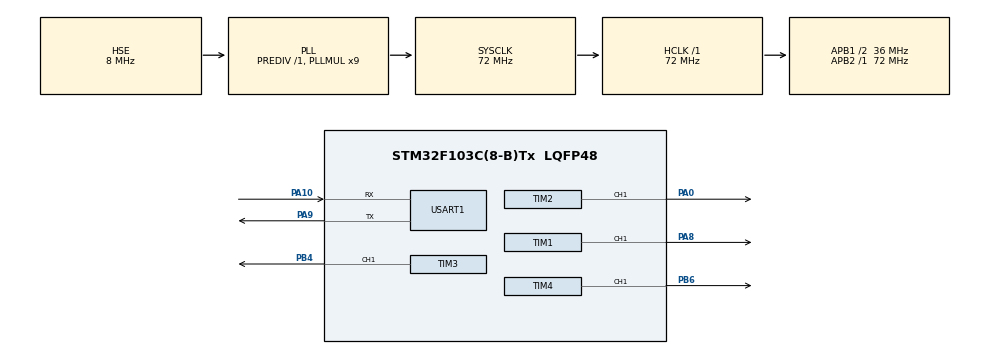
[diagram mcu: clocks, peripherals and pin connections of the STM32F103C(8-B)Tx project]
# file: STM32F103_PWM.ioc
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Mcu.Family=STM32F1
Mcu.Name=STM32F103C(8-B)Tx
Mcu.Package=LQFP48
NVIC.PriorityGroup=NVIC_PRIORITYGROUP_4
NVIC.USART1_IRQn=true\:0\:0\:false\:false\:true\:true\:true\:true
PA0-WKUP.Signal=S_TIM2_CH1_ETR
PA10.Mode=Asynchronous
PA10.Signal=USART1_RX
PA13.Mode=Serial_Wire
PA13.Signal=SYS_JTMS-SWDIO
PA14.Mode=Serial_Wire
PA14.Signal=SYS_JTCK-SWCLK
PA8.Signal=S_TIM1_CH1
PA9.Mode=Asynchronous
PA9.Signal=USART1_TX
PB4.Signal=S_TIM3_CH1
PB6.Signal=S_TIM4_CH1
PD0-OSC_IN.Mode=HSE-External-Oscillator
PD0-OSC_IN.Signal=RCC_OSC_IN
PD1-OSC_OUT.Mode=HSE-External-Oscillator
PD1-OSC_OUT.Signal=RCC_OSC_OUT
ProjectManager.HeapSize=0x200
ProjectManager.StackSize=0x400
ProjectManager.TargetToolchain=MDK-ARM V5.32
RCC.AHBFreq_Value=72000000
RCC.APB1CLKDivider=RCC_HCLK_DIV2
RCC.APB1Freq_Value=36000000
RCC.APB1TimFreq_Value=72000000
RCC.APB2Freq_Value=72000000
RCC.APB2TimFreq_Value=72000000
RCC.HCLKFreq_Value=72000000
RCC.PLLMUL=RCC_PLL_MUL9
RCC.PLLSourceVirtual=RCC_PLLSOURCE_HSE
RCC.SYSCLKFreq_VALUE=72000000
RCC.SYSCLKSource=RCC_SYSCLKSOURCE_PLLCLK
RCC.USBFreq_Value=72000000
SH.S_TIM1_CH1.0=TIM1_CH1,PWM Generation1 CH1
SH.S_TIM2_CH1_ETR.0=TIM2_CH1,PWM Generation1 CH1
SH.S_TIM3_CH1.0=TIM3_CH1,PWM Generation1 CH1
SH.S_TIM4_CH1.0=TIM4_CH1,PWM Generation1 CH1
TIM1.Channel-PWM\ Generation1\ CH1=TIM_CHANNEL_1
TIM1.Period=1000-1
TIM1.Prescaler=72-1
TIM1.Pulse-PWM\ Generation1\ CH1=500
TIM2.Channel-PWM\ Generation1\ CH1=TIM_CHANNEL_1
TIM2.Period=500-1
TIM2.Prescaler=72-1
TIM2.Pulse-PWM\ Generation1\ CH1=200
TIM3.Channel-PWM\ Generation1\ CH1=TIM_CHANNEL_1
TIM3.Period=333-1
TIM3.Prescaler=72-1
TIM3.Pulse-PWM\ Generation1\ CH1=150
TIM4.Channel-PWM\ Generation1\ CH1=TIM_CHANNEL_1
TIM4.Period=250-1
TIM4.Prescaler=72-1
TIM4.Pulse-PWM\ Generation1\ CH1=100
USART1.VirtualMode=VM_ASYNC
board=custom

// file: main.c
/* USER CODE BEGIN Header */
/**
 ******************************************************************************
 * @file           : main.c
 * @brief          : Main program body
 ******************************************************************************
 * @attention
 *
 * Copyright (c) 2024 STMicroelectronics.
 * All rights reserved.
 *
 * This software is licensed under terms that can be found in the LICENSE file
 * in the root directory of this software component.
 * If no LICENSE file comes with this software, it is provided AS-IS.
 *
 ******************************************************************************
 */
/* USER CODE END Header */
#include "main.h"

/* USER CODE BEGIN Includes */
#include "tjc_usart_hmi.h"
#include "math.h"
#include <stdio.h>
#include <string.h>
#include <stdarg.h>
#include <stddef.h>
/* USER CODE END Includes */

/* USER CODE BEGIN PD */
#define code_num 4
#define STR_LENGTH2 100
/* USER CODE END PD */

TIM_HandleTypeDef htim1;
TIM_HandleTypeDef htim2;
TIM_HandleTypeDef htim3;
TIM_HandleTypeDef htim4;

UART_HandleTypeDef huart1;

/* USER CODE BEGIN PV */
uint8_t uart_screen_data[7];
const uint16_t led_frequency_delta[code_num] = {0, 500, 333, 250};

uint8_t led_code[code_num] = {
    0, 1, 2, 3};
/* USER CODE END PV */

void SystemClock_Config(void);
static void MX_GPIO_Init(void);
static void MX_TIM1_Init(void);
static void MX_TIM3_Init(void);
static void MX_TIM2_Init(void);
static void MX_TIM4_Init(void);
static void MX_USART1_UART_Init(void);
/* USER CODE BEGIN PFP */
void screen_receive();
void UpperComputer_Pringtf(const char *str, ...);
// void user_delaynus_tim(uint16_t nus);
/* USER CODE END PFP */

/* USER CODE BEGIN 0 */
void UpperComputer_Pringtf(const char *str, ...)
{
  uint8_t end = '\n';
  char buffer[STR_LENGTH2 + 1]; // ????
  uint8_t i = 0;
  va_list arg_ptr;
  va_start(arg_ptr, str);
  vsnprintf(buffer, STR_LENGTH2 + 1, str, arg_ptr);
  va_end(arg_ptr);
  while ((i < STR_LENGTH2) && (i < strlen(buffer)))
  {
    HAL_UART_Transmit_IT(&huart1, (uint8_t *)(buffer) + i++, 1);
    while (huart1.gState != HAL_UART_STATE_READY)
      ; // ?????????
  }

  HAL_UART_Transmit_IT(&huart1, &end, 1); // ???????????????????????
  while (huart1.gState != HAL_UART_STATE_READY)
    ;

  // HAL_UART_Transmit_IT(&huart1, &end, 1); // ???????????????????????
  // while (huart1.gState != HAL_UART_STATE_READY)
  //   ;                                     // ?????????
  // HAL_UART_Transmit_IT(&huart1, &end, 1); // ???????????????????????
  // while (huart1.gState != HAL_UART_STATE_READY)
  //   ;                                     // ?????????
  // HAL_UART_Transmit_IT(&huart1, &end, 1); // ???????????????????????
  // while (huart1.gState != HAL_UART_STATE_READY)
  ; // ?????????
}
void screen_receive()
{
  HAL_GPIO_TogglePin(GPIOB, GPIO_PIN_0);
  uint8_t led, frequency;
  for (int i = 0; i < 7; i++)
  {
    uart_screen_data[i] = read1BFromRingBuff(i);
  }

  switch (uart_screen_data[2])
  {
  case 0:
    frequency = 0;
    break;
  case 1:
    frequency = 1;
    break;
  case 2:
    frequency = 2;
    break;
  case 3:
    frequency = 3;
    break;
  default:
    TJCPrintf("Cannot Fine Frequency\n");
  }
  switch (uart_screen_data[1])
  {
  case 0x70:
    led = 0;
    // htim1.Instance->PSC = led_frequency_prescaler[frequency] - 1;
    break;
  case 0x71:
    led = 1;
    // htim2.Instance->PSC = led_frequency_prescaler[frequency] - 1;
    break;
  case 0x72:
    led = 2;
    // htim3.Instance->PSC = led_frequency_prescaler[frequency] - 1;
    break;
  case 0x73:
    led = 3;
    // htim4.Instance->PSC = led_frequency_prescaler[frequency] - 1;
    break;
  default:
    TJCPrintf("Cannot Find LED\n");
  }

  // 默认4个频�?
  frequency = led * 1000 + frequency * led_frequency_delta[3];
  led_code[led] = frequency;

  TJCPrintf("n0.val=%d", led_code[0]);
  TJCPrintf("n1.val=%d", led_code[1]);
  TJCPrintf("n2.val=%d", led_code[2]);
  TJCPrintf("n3.val=%d\n", led_code[3]);

  for (int i = 0; i < 7; i++)
    TJCPrintf("d%d = %d", i, uart_screen_data[i]);
  TJCPrintf("length = %d", getRingBuffLenght());

  TJCPrintf("ok");
  initRingBuff();
}

// // ??????????
// void user_delaynus_tim(uint16_t nus)
// {

//   // ??????????????3????????????
//   __HAL_TIM_SetCounter(&htim3, 0);
//   // ??????????????????
//   HAL_TIM_Base_Start(&htim3);

//   while (__HAL_TIM_GetCounter(&htim3) < nus)
//   {
//   };
//   // ??????????????
//   HAL_TIM_Base_Stop(&htim3);
// }

/* USER CODE END 0 */

int main(void)
{

  /* MCU Configuration--------------------------------------------------------*/

  /* Reset of all peripherals, Initializes the Flash interface and the Systick. */
  HAL_Init();

  /* Configure the system clock */
  SystemClock_Config();

  /* Initialize all configured peripherals */
  MX_GPIO_Init();
  MX_TIM1_Init();
  MX_TIM3_Init();
  MX_TIM2_Init();
  MX_TIM4_Init();
  MX_USART1_UART_Init();
  /* USER CODE BEGIN 2 */
  HAL_TIM_PWM_Start(&htim1, TIM_CHANNEL_1);
  HAL_TIM_PWM_Start(&htim2, TIM_CHANNEL_1);
  HAL_TIM_PWM_Start(&htim3, TIM_CHANNEL_1);
  HAL_TIM_PWM_Start(&htim4, TIM_CHANNEL_1);

  initRingBuff();
  HAL_UART_Receive_IT(&huart1, RxBuff, 1);

  // HAL_GPIO_WritePin(GPIOB, GPIO_PIN_0, GPIO_PIN_RESET);
  /* USER CODE END 2 */

  /* Infinite loop */
  /* USER CODE BEGIN WHILE */
  while (1)
  {

    if (getRingBuffLenght() == 7)
    {
      screen_receive();
    }

    // HAL_Delay(1000);
    // //user_delaynus_tim(500);
    // if(flag == 1)
    // {
    // 	HAL_GPIO_WritePin(GPIOB, GPIO_PIN_0, GPIO_PIN_RESET);
    // 	flag = 0;
    // }
    // else
    // {
    //   HAL_GPIO_WritePin(GPIOB, GPIO_PIN_0, GPIO_PIN_SET);
    //   flag = 1;
    // }

    /* USER CODE END WHILE */

  }
}

void SystemClock_Config(void)
{
  RCC_OscInitTypeDef RCC_OscInitStruct = {0};
  RCC_ClkInitTypeDef RCC_ClkInitStruct = {0};

  /** Initializes the RCC Oscillators according to the specified parameters
  * in the RCC_OscInitTypeDef structure.
  */
  RCC_OscInitStruct.OscillatorType = RCC_OSCILLATORTYPE_HSE;
  RCC_OscInitStruct.HSEState = RCC_HSE_ON;
  RCC_OscInitStruct.HSEPredivValue = RCC_HSE_PREDIV_DIV1;
  RCC_OscInitStruct.HSIState = RCC_HSI_ON;
  RCC_OscInitStruct.PLL.PLLState = RCC_PLL_ON;
  RCC_OscInitStruct.PLL.PLLSource = RCC_PLLSOURCE_HSE;
  RCC_OscInitStruct.PLL.PLLMUL = RCC_PLL_MUL9;
  if (HAL_RCC_OscConfig(&RCC_OscInitStruct) != HAL_OK)
  {
    Error_Handler();
  }

  /** Initializes the CPU, AHB and APB buses clocks
  */
  RCC_ClkInitStruct.ClockType = RCC_CLOCKTYPE_HCLK|RCC_CLOCKTYPE_SYSCLK
                              |RCC_CLOCKTYPE_PCLK1|RCC_CLOCKTYPE_PCLK2;
  RCC_ClkInitStruct.SYSCLKSource = RCC_SYSCLKSOURCE_PLLCLK;
  RCC_ClkInitStruct.AHBCLKDivider = RCC_SYSCLK_DIV1;
  RCC_ClkInitStruct.APB1CLKDivider = RCC_HCLK_DIV2;
  RCC_ClkInitStruct.APB2CLKDivider = RCC_HCLK_DIV1;

  if (HAL_RCC_ClockConfig(&RCC_ClkInitStruct, FLASH_LATENCY_2) != HAL_OK)
  {
    Error_Handler();
  }
}

static void MX_TIM1_Init(void)
{

  TIM_MasterConfigTypeDef sMasterConfig = {0};
  TIM_OC_InitTypeDef sConfigOC = {0};
  TIM_BreakDeadTimeConfigTypeDef sBreakDeadTimeConfig = {0};

  htim1.Instance = TIM1;
  htim1.Init.Prescaler = 72-1;
  htim1.Init.CounterMode = TIM_COUNTERMODE_UP;
  htim1.Init.Period = 1000-1;
  htim1.Init.ClockDivision = TIM_CLOCKDIVISION_DIV1;
  htim1.Init.RepetitionCounter = 0;
  htim1.Init.AutoReloadPreload = TIM_AUTORELOAD_PRELOAD_DISABLE;
  if (HAL_TIM_PWM_Init(&htim1) != HAL_OK)
  {
    Error_Handler();
  }
  sMasterConfig.MasterOutputTrigger = TIM_TRGO_RESET;
  sMasterConfig.MasterSlaveMode = TIM_MASTERSLAVEMODE_DISABLE;
  if (HAL_TIMEx_MasterConfigSynchronization(&htim1, &sMasterConfig) != HAL_OK)
  {
    Error_Handler();
  }
  sConfigOC.OCMode = TIM_OCMODE_PWM1;
  sConfigOC.Pulse = 500;
  sConfigOC.OCPolarity = TIM_OCPOLARITY_HIGH;
  sConfigOC.OCNPolarity = TIM_OCNPOLARITY_HIGH;
  sConfigOC.OCFastMode = TIM_OCFAST_DISABLE;
  sConfigOC.OCIdleState = TIM_OCIDLESTATE_RESET;
  sConfigOC.OCNIdleState = TIM_OCNIDLESTATE_RESET;
  if (HAL_TIM_PWM_ConfigChannel(&htim1, &sConfigOC, TIM_CHANNEL_1) != HAL_OK)
  {
    Error_Handler();
  }
  sBreakDeadTimeConfig.OffStateRunMode = TIM_OSSR_DISABLE;
  sBreakDeadTimeConfig.OffStateIDLEMode = TIM_OSSI_DISABLE;
  sBreakDeadTimeConfig.LockLevel = TIM_LOCKLEVEL_OFF;
  sBreakDeadTimeConfig.DeadTime = 0;
  sBreakDeadTimeConfig.BreakState = TIM_BREAK_DISABLE;
  sBreakDeadTimeConfig.BreakPolarity = TIM_BREAKPOLARITY_HIGH;
  sBreakDeadTimeConfig.AutomaticOutput = TIM_AUTOMATICOUTPUT_DISABLE;
  if (HAL_TIMEx_ConfigBreakDeadTime(&htim1, &sBreakDeadTimeConfig) != HAL_OK)
  {
    Error_Handler();
  }
  HAL_TIM_MspPostInit(&htim1);

}

static void MX_TIM2_Init(void)
{

  TIM_MasterConfigTypeDef sMasterConfig = {0};
  TIM_OC_InitTypeDef sConfigOC = {0};

  htim2.Instance = TIM2;
  htim2.Init.Prescaler = 72-1;
  htim2.Init.CounterMode = TIM_COUNTERMODE_UP;
  htim2.Init.Period = 500-1;
  htim2.Init.ClockDivision = TIM_CLOCKDIVISION_DIV1;
  htim2.Init.AutoReloadPreload = TIM_AUTORELOAD_PRELOAD_DISABLE;
  if (HAL_TIM_PWM_Init(&htim2) != HAL_OK)
  {
    Error_Handler();
  }
  sMasterConfig.MasterOutputTrigger = TIM_TRGO_RESET;
  sMasterConfig.MasterSlaveMode = TIM_MASTERSLAVEMODE_DISABLE;
  if (HAL_TIMEx_MasterConfigSynchronization(&htim2, &sMasterConfig) != HAL_OK)
  {
    Error_Handler();
  }
  sConfigOC.OCMode = TIM_OCMODE_PWM1;
  sConfigOC.Pulse = 200;
  sConfigOC.OCPolarity = TIM_OCPOLARITY_HIGH;
  sConfigOC.OCFastMode = TIM_OCFAST_DISABLE;
  if (HAL_TIM_PWM_ConfigChannel(&htim2, &sConfigOC, TIM_CHANNEL_1) != HAL_OK)
  {
    Error_Handler();
  }
  HAL_TIM_MspPostInit(&htim2);

}

static void MX_TIM3_Init(void)
{

  TIM_MasterConfigTypeDef sMasterConfig = {0};
  TIM_OC_InitTypeDef sConfigOC = {0};

  htim3.Instance = TIM3;
  htim3.Init.Prescaler = 72-1;
  htim3.Init.CounterMode = TIM_COUNTERMODE_UP;
  htim3.Init.Period = 333-1;
  htim3.Init.ClockDivision = TIM_CLOCKDIVISION_DIV1;
  htim3.Init.AutoReloadPreload = TIM_AUTORELOAD_PRELOAD_DISABLE;
  if (HAL_TIM_PWM_Init(&htim3) != HAL_OK)
  {
    Error_Handler();
  }
  sMasterConfig.MasterOutputTrigger = TIM_TRGO_RESET;
  sMasterConfig.MasterSlaveMode = TIM_MASTERSLAVEMODE_DISABLE;
  if (HAL_TIMEx_MasterConfigSynchronization(&htim3, &sMasterConfig) != HAL_OK)
  {
    Error_Handler();
  }
  sConfigOC.OCMode = TIM_OCMODE_PWM1;
  sConfigOC.Pulse = 150;
  sConfigOC.OCPolarity = TIM_OCPOLARITY_HIGH;
  sConfigOC.OCFastMode = TIM_OCFAST_DISABLE;
  if (HAL_TIM_PWM_ConfigChannel(&htim3, &sConfigOC, TIM_CHANNEL_1) != HAL_OK)
  {
    Error_Handler();
  }
  HAL_TIM_MspPostInit(&htim3);

}

static void MX_TIM4_Init(void)
{

  TIM_MasterConfigTypeDef sMasterConfig = {0};
  TIM_OC_InitTypeDef sConfigOC = {0};

  htim4.Instance = TIM4;
  htim4.Init.Prescaler = 72-1;
  htim4.Init.CounterMode = TIM_COUNTERMODE_UP;
  htim4.Init.Period = 250-1;
  htim4.Init.ClockDivision = TIM_CLOCKDIVISION_DIV1;
  htim4.Init.AutoReloadPreload = TIM_AUTORELOAD_PRELOAD_DISABLE;
  if (HAL_TIM_PWM_Init(&htim4) != HAL_OK)
  {
    Error_Handler();
  }
  sMasterConfig.MasterOutputTrigger = TIM_TRGO_RESET;
  sMasterConfig.MasterSlaveMode = TIM_MASTERSLAVEMODE_DISABLE;
  if (HAL_TIMEx_MasterConfigSynchronization(&htim4, &sMasterConfig) != HAL_OK)
  {
    Error_Handler();
  }
  sConfigOC.OCMode = TIM_OCMODE_PWM1;
  sConfigOC.Pulse = 100;
  sConfigOC.OCPolarity = TIM_OCPOLARITY_HIGH;
  sConfigOC.OCFastMode = TIM_OCFAST_DISABLE;
  if (HAL_TIM_PWM_ConfigChannel(&htim4, &sConfigOC, TIM_CHANNEL_1) != HAL_OK)
  {
    Error_Handler();
  }
  HAL_TIM_MspPostInit(&htim4);

}

static void MX_USART1_UART_Init(void)
{

  huart1.Instance = USART1;
  huart1.Init.BaudRate = 115200;
  huart1.Init.WordLength = UART_WORDLENGTH_8B;
  huart1.Init.StopBits = UART_STOPBITS_1;
  huart1.Init.Parity = UART_PARITY_NONE;
  huart1.Init.Mode = UART_MODE_TX_RX;
  huart1.Init.HwFlowCtl = UART_HWCONTROL_NONE;
  huart1.Init.OverSampling = UART_OVERSAMPLING_16;
  if (HAL_UART_Init(&huart1) != HAL_OK)
  {
    Error_Handler();
  }

}

static void MX_GPIO_Init(void)
{

  /* GPIO Ports Clock Enable */
  __HAL_RCC_GPIOD_CLK_ENABLE();
  __HAL_RCC_GPIOA_CLK_ENABLE();
  __HAL_RCC_GPIOB_CLK_ENABLE();

}

void Error_Handler(void)
{
  __disable_irq();
  while (1)
  {
  }
}
